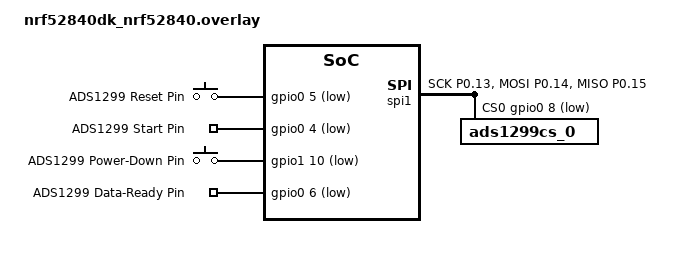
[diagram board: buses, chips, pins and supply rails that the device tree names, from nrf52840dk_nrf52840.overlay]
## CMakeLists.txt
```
# SPDX-License-Identifier: Apache-2.0

cmake_minimum_required(VERSION 3.20.0)

find_package(Zephyr REQUIRED HINTS $ENV{ZEPHYR_BASE})
project(getBrain_headband_ncs_2xx)

# Include application application event headers
# Include application events and configuration headers
target_include_directories(app PRIVATE
  src/events
)

target_sources(app PRIVATE 
        src/main.c
        src/modules/eeg_sensor.c
        src/modules/ble_command.c
        src/modules/ble_eeg_notify.c

        src/events/eeg_measurement_event.c
        src/events/ble_command_event.c
        src/events/config_event.c
        
        components/drivers/ads1299/ads1299_cfg.c
        components/drivers/ads1299/ads1299.c
        components/ble_manager/BLEManager.c
        components/ble_manager/services/gbdcs.c
        
)
```

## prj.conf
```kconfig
# nothing here
CONFIG_CLOCK_CONTROL_NRF_K32SRC_RC=y
CONFIG_LOG=n

CONFIG_BT=y
CONFIG_BT_DEBUG_LOG=y
CONFIG_BT_SMP=y
CONFIG_BT_PERIPHERAL=y
CONFIG_BT_MAX_CONN=1
CONFIG_BT_L2CAP_TX_BUF_COUNT=50
CONFIG_BT_L2CAP_TX_MTU=150
CONFIG_BT_BUF_ACL_RX_SIZE=128
CONFIG_BT_DEVICE_NAME="getBrain_nRF52_NCS_1"
CONFIG_BT_DEVICE_APPEARANCE=962
CONFIG_BT_USER_PHY_UPDATE=y
CONFIG_BT_USER_DATA_LEN_UPDATE=y

CONFIG_HEAP_MEM_POOL_SIZE=4096

CONFIG_GPIO=y
CONFIG_SPI=y
CONFIG_SPI_ASYNC=y

# Configuration required by Application Event Manager
CONFIG_APP_EVENT_MANAGER=y
CONFIG_REBOOT=y
```

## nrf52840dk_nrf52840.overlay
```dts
// To get started, press Ctrl+Space to bring up the completion menu and view the available nodes.

// You can also use the buttons in the sidebar to perform actions on nodes.
// Actions currently available include:

// * Enabling / disabling the node
// * Adding the bus to a bus
// * Removing the node
// * Connecting ADC channels

// For more help, browse the DeviceTree documentation at https://docs.zephyrproject.org/latest/guides/dts/index.html
// You can also visit the nRF DeviceTree extension documentation at https://nrfconnect.github.io/vscode-nrf-connect/devicetree/nrfdevicetree.html

/ {
    ads1299ios {
        compatible = "gpio-keys";
        ads1299rst: ads1299_rst {
			gpios = <&gpio0 5 GPIO_ACTIVE_LOW>;
			label = "ADS1299 Reset Pin";
		};

        ads1299start: ads1299_start {
			gpios = <&gpio0 4 GPIO_ACTIVE_LOW>;
			label = "ADS1299 Start Pin";
		};

        ads1299pwdn: ads1299_pwdn {
			gpios = <&gpio1 10 GPIO_ACTIVE_LOW>;
			label = "ADS1299 Power-Down Pin";
		};

        // ads1299cs: ads1299_cs {
		// 	gpios = <&gpio0 8 GPIO_ACTIVE_LOW>;
		// 	label = "ADS1299 Chip-Select Pin";
		// };

        ads1299drdy: ads1299_drdy {
			gpios = <&gpio0 6 (GPIO_PULL_UP | GPIO_ACTIVE_LOW)>;
			label = "ADS1299 Data-Ready Pin";
		};
    };
};

&pinctrl {
	uart0_default: uart0_default {
		group1 {
			psels = <NRF_PSEL(UART_TX, 0, 24)>,
				<NRF_PSEL(UART_RTS, 0, 1)>;
		};
		group2 {
			psels = <NRF_PSEL(UART_RX, 0, 25)>,
				<NRF_PSEL(UART_CTS, 0, 7)>;
			bias-pull-up;
		};
	};

	uart0_sleep: uart0_sleep {
		group1 {
			psels = <NRF_PSEL(UART_TX, 0, 24)>,
			        <NRF_PSEL(UART_RX, 0, 25)>,
				    <NRF_PSEL(UART_RTS, 0, 1)>,
				    <NRF_PSEL(UART_CTS, 0, 7)>;
			low-power-enable;
		};
	};
	
	/* Board Test */
	spi1_default: spi1_default {
		group1 {
			psels = <NRF_PSEL(SPIM_SCK, 0, 13)>,
				<NRF_PSEL(SPIM_MOSI, 0, 14)>,
				<NRF_PSEL(SPIM_MISO, 0, 15)>;
		};
	};

	spi1_sleep: spi1_sleep {
		group1 {
			psels = <NRF_PSEL(SPIM_SCK, 0, 13)>,
				<NRF_PSEL(SPIM_MOSI, 0, 14)>,
				<NRF_PSEL(SPIM_MISO, 0, 15)>;
			low-power-enable;
		};
	};

	// /* Headband v1*/
	// spi1_default: spi1_default {
	// 	group1 {
	// 		psels = <NRF_PSEL(SPIM_SCK, 0, 13)>,
	// 			<NRF_PSEL(SPIM_MOSI, 0, 15)>,
	// 			<NRF_PSEL(SPIM_MISO, 0, 14)>;
	// 	};
	// };

	// spi1_sleep: spi1_sleep {
	// 	group1 {
	// 		psels = <NRF_PSEL(SPIM_SCK, 0, 13)>,
	// 			<NRF_PSEL(SPIM_MOSI, 0, 15)>,
	// 			<NRF_PSEL(SPIM_MISO, 0, 14)>;
	// 		low-power-enable;
	// 	};
	// };

	/* Headband v2*/
	// spi1_default: spi1_default {
	// 	group1 {
	// 		psels = <NRF_PSEL(SPIM_SCK, 0, 13)>,
	// 			<NRF_PSEL(SPIM_MOSI, 0, 14)>,
	// 			<NRF_PSEL(SPIM_MISO, 0, 15)>;
	// 	};
	// };

	// spi1_sleep: spi1_sleep {
	// 	group1 {
	// 		psels = <NRF_PSEL(SPIM_SCK, 0, 13)>,
	// 			<NRF_PSEL(SPIM_MOSI, 0, 14)>,
	// 			<NRF_PSEL(SPIM_MISO, 0, 15)>;
	// 		low-power-enable;
	// 	};
	// };
};


ads1299spi: &spi1 {
	compatible = "nordic,nrf-spi";
	pinctrl-0 = <&spi1_default>;
	pinctrl-1 = <&spi1_sleep>;
	pinctrl-names = "default", "sleep";
	cs-gpios = <&gpio0 8 GPIO_ACTIVE_LOW>;
	ads1299cs_0: ads1299cs_0@0 {
		reg = < 0 >;
	};
};
```

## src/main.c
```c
/*
 * Copyright (c) 2012-2014 Wind River Systems, Inc.
 *
 * SPDX-License-Identifier: Apache-2.0
 */

#include <zephyr/zephyr.h>
#include <zephyr/logging/log.h>
#include <app_event_manager.h>

#include "config_event.h"
#include "../components/ble_manager/BLEManager.h"
#include "../components/drivers/ads1299/ads1299.h"

#define MODULE main

LOG_MODULE_REGISTER(MODULE);

#define INIT_VALUE 1

void main(void)
{
    ADS1299_Platform_Init();
    BLEManager_Init();

	if (app_event_manager_init()) {
		LOG_ERR("Application Event Manager not initialized");
	} else {
		struct config_event *event = new_config_event();

		event->init_value1 = INIT_VALUE;
		APP_EVENT_SUBMIT(event);
	}
}

// uint8_t test_arr[24] = {0};

// void main(void)
// {
//     ADS1299_Platform_Init();
// 	ADS1299_Init();
// 	ADS1299_CmdSTART();

// 	while(1)
// 	{
// 		__NOP();
// 		// for(uint8_t idx = 0; idx < 24; idx++)
// 		// {
// 		// 	test_arr[idx]++;
// 		// }

// 		// if(test_arr[0] == 255)
// 		// {
// 		// 	__NOP();
// 		// }
// 	}
// }
```

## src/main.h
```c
#ifndef _MAIN_H_
#define _MAIN_H_

#include <zephyr/zephyr.h>

#ifdef __cplusplus
extern "C" {
#endif

extern struct k_msgq gb_ads1299_msgq;

 
#ifdef __cplusplus
}
#endif

#endif
```
